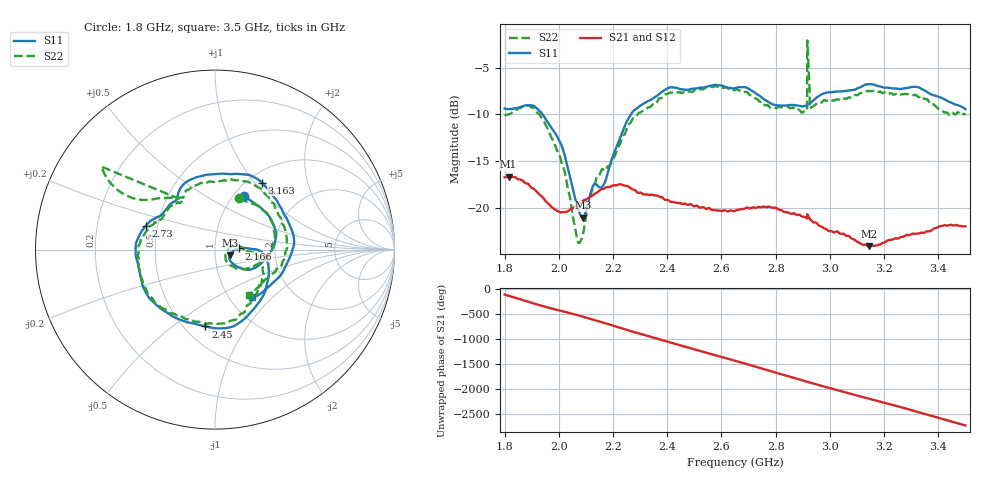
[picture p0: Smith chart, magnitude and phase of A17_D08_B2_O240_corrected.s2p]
! Created with skrf 1.9.0 (http://scikit-rf.org).
# Hz S RI R 50.0
!freq ReS11 ImS11 ReS21 ImS21 ReS12 ImS12 ReS22 ImS22
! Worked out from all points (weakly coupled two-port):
!   1601 points, 1.8 GHz to 3.5 GHz, reference 50 ohm
!   highest |S21| = -16.64 dB at 1.815 GHz (marker M1); lowest = -24.1 dB at 3.144 GHz (marker M2)
!   lowest |S11| = -21.0 dB at 2.089 GHz (marker M3), VSWR 1.20, Z = 58.9 - j3.79 ohm
!   |S11| at or under -10 dB: 1.941 GHz to 2.266 GHz (325.3 MHz wide, 15.5 % of centre)
!   |S22| runs from -23.7 to -2.1 dB; largest |S21 - S12| = 0.0028
!   S11 on the Smith chart (normalised r, x): 1.8 GHz: 1.12, +0.76; 2.166 GHz: 1.31, +0.02; 2.45 GHz: 0.63, -0.66; 2.73 GHz: 0.43, +0.14; 3.163 GHz: 1.16, +1.09; 3.5 GHz: 1.27, -0.76
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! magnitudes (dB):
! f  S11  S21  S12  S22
! 1.8 GHz  -9.4  -16.7  -16.7  -10.0
! 1.815 GHz  -9.4  -16.6  -16.6  -10.0
! 1.887 GHz  -9.0  -17.4  -17.5  -9.0
! 1.942 GHz  -10.1  -18.9  -18.9  -10.6
! 2.011 GHz  -13.4  -20.4  -20.4  -15.3
! 2.067 GHz  -19.6  -19.6  -19.7  -23.2
! 2.084 GHz  -20.9  -19.4  -19.3  -23.3
! 2.089 GHz  -21.0  -19.2  -19.3  -22.8
! 2.127 GHz  -17.6  -18.6  -18.6  -17.9
! 2.166 GHz  -17.5  -17.9  -17.9  -15.9
! 2.262 GHz  -10.2  -17.8  -17.8  -11.0
! 2.367 GHz  -7.9  -18.7  -18.7  -8.4
! 2.45 GHz  -7.3  -19.5  -19.5  -7.7
! 2.65 GHz  -7.2  -20.3  -20.3  -7.4
! 2.73 GHz  -7.8  -19.9  -20.0  -8.3
! 2.903 GHz  -9.1  -20.9  -20.9  -9.7
! 2.925 GHz  -8.8  -21.1  -21.1  -7.4
! 2.934 GHz  -8.6  -21.4  -21.4  -9.2
! 3.144 GHz  -6.8  -24.1  -24.0  -7.5
! 3.163 GHz  -6.8  -24.0  -24.0  -7.4
! 3.217 GHz  -7.2  -23.4  -23.4  -7.8
! 3.5 GHz  -9.4  -21.9  -21.9  -10.1
